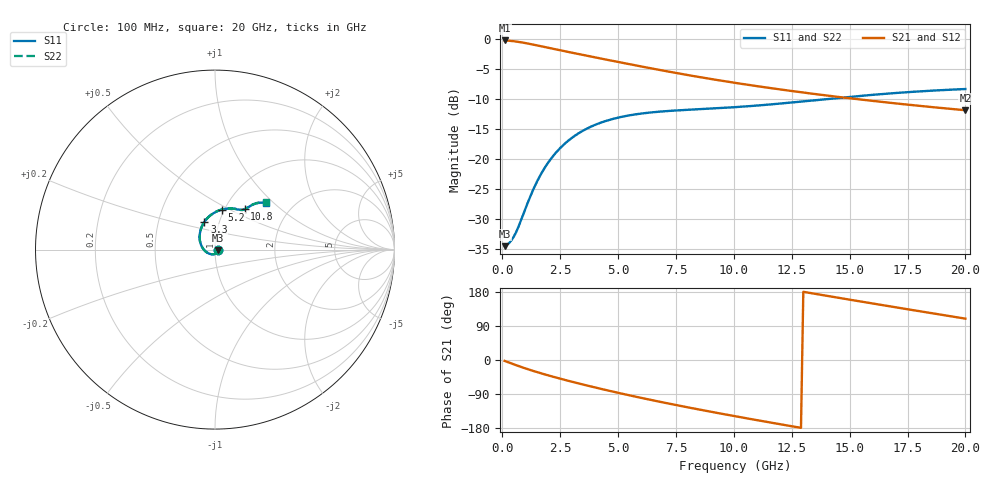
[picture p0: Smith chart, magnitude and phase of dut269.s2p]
! Touchstone file exported from HFSS 2023.1.0
!  File:  D:/Users/fzz/RDL_TSV/temp_RDL_TSV_269_1778761913.aedt
!  Generated:  8:44:24 %x4E0B%x5348  5%x6708 14, 2026
!  Design:  RDL_TSV
!  Project:  temp_RDL_TSV_269_1778761913
!  Setup:  Setup1
!  Solution:  Sweep
! Variables:
!  dtsv = 16.83um
!  hbump = 3um
!  htsv = 93.33um
!  ldown = 191.85um
!  lrdl = 606.5um
!  p = 40
!  p1 = 46.28um
!  rhole = 10um
!  subl = 3001.55um
!  t = 450um
!  tdown = 3.51um
!  trdl = 4.25um
!  viad = 10um
!  wdown = 11.08um
!  wrdl = 14.9um
!  xbump = 18um
# GHz S MA R 50.000000
! Terminal data exported
! Port[1] = TM1_1_T1
! Port[2] = TM1_4_T1
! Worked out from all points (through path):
!   200 points, 100 MHz to 20 GHz, reference 50 ohm
!   highest |S21| = -0.17 dB at 100 MHz (marker M1); lowest = -11.8 dB at 20 GHz (marker M2)
!   group delay of S21, straight-line fit = 32.9 ps
!   lowest |S11| = -34.5 dB at 100 MHz (marker M3), VSWR 1.04, Z = 51.9 - j0.502 ohm
!   |S11| at or under -10 dB: start of sweep to 13.88 GHz
!   |S22| runs from -34.5 to -8.2 dB; largest |S21 - S12| = 9.9e-15
!   S11 on the Smith chart (normalised r, x): 100 MHz: 1.04, -0.01; 3.3 GHz: 0.85, +0.27; 5.2 GHz: 0.98, +0.46; 10.8 GHz: 1.24, +0.60; 20 GHz: 1.47, +0.90
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0.1  0.01883 -14.9  0.9805 -2.4  0.9805 -2.4  0.01883 -14.9
! Gamma 0 0 0 0
! Port Impedance 50 0 50 0
0.4  0.02113 -62.3  0.971 -9.3  0.971 -9.3  0.02111 -62.4
0.6  0.02473 -93.7  0.9605 -13.7  0.9605 -13.7  0.02471 -93.8
1  0.03873 -143.7  0.9327 -22.2  0.9327 -22.2  0.03876 -143.8
1.5  0.06512 177.0  0.8918 -31.9  0.8918 -31.9  0.06529 176.9
1.9  0.08891 155.8  0.8587 -39.1  0.8587 -39.1  0.08919 155.7
2.3  0.1126 139.6  0.827 -46.0  0.827 -46.0  0.113 139.5
2.8  0.1404 123.7  0.7897 -54.1  0.7897 -54.1  0.1409 123.6
3.3  0.165 111.0  0.7547 -61.9  0.7547 -61.9  0.1657 111.0
3.5  0.1738 106.7  0.7413 -64.9  0.7413 -64.9  0.1746 106.6
4.3  0.2035 92.0  0.6902 -76.7  0.6902 -76.7  0.2044 92.0
5.2  0.2269 79.8  0.6375 -89.3  0.6375 -89.3  0.228 79.8
6  0.2407 71.7  0.5948 -100.0  0.5948 -100.0  0.2418 71.7
6.8  0.2498 65.6  0.556 -110.2  0.556 -110.2  0.251 65.6
8.4  0.2611 58.1  0.4895 -129.5  0.4895 -129.5  0.2623 58.1
10.1  0.2726 54.4  0.4328 -148.9  0.4328 -148.9  0.2738 54.4
10.8  0.2787 53.6  0.4129 -156.6  0.4129 -156.6  0.2799 53.6
13.4  0.3096 51.3  0.3523 175.7  0.3523 175.7  0.3111 51.4
15.1  0.333 49.4  0.3212 158.2  0.3212 158.2  0.3348 49.5
16.7  0.3538 47.2  0.2966 142.0  0.2966 142.0  0.3559 47.3
18.3  0.3713 44.8  0.2756 126.0  0.2756 126.0  0.3738 45.0
20  0.3856 42.5  0.2565 109.1  0.2565 109.1  0.3886 42.6
